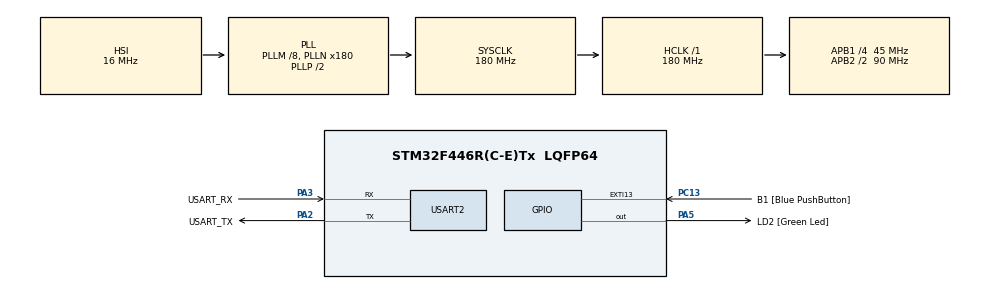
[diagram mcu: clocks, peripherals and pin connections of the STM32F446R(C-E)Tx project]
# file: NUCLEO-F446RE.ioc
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board=NUCLEO-F446RE2
Mcu.Family=STM32F4
Mcu.Name=STM32F446R(C-E)Tx
Mcu.Package=LQFP64
NVIC.PriorityGroup=NVIC_PRIORITYGROUP_0
PA13.GPIO_Label=TMS
PA13.Signal=SYS_JTMS-SWDIO
PA14.GPIO_Label=TCK
PA14.Signal=SYS_JTCK-SWCLK
PA2.GPIO_Label=USART_TX
PA2.Mode=Asynchronous
PA2.Signal=USART2_TX
PA3.GPIO_Label=USART_RX
PA3.GPIO_PuPd=GPIO_PULLUP
PA3.Mode=Asynchronous
PA3.Signal=USART2_RX
PA5.GPIO_Label=LD2 [Green Led]
PA5.Signal=GPIO_Output
PB3.GPIO_Label=SWO
PB3.Signal=SYS_JTDO-SWO
PC13.GPIO_Label=B1 [Blue PushButton]
PC13.GPIO_ModeDefaultEXTI=GPIO_MODE_IT_FALLING
PC13.Signal=GPXTI13
PC14-OSC32_IN.Signal=RCC_OSC32_IN
PC15-OSC32_OUT.Signal=RCC_OSC32_OUT
PH0-OSC_IN.Signal=RCC_OSC_IN
PH1-OSC_OUT.Signal=RCC_OSC_OUT
ProjectManager.HeapSize=0x800
ProjectManager.StackSize=0x800
ProjectManager.TargetToolchain=STM32CubeIDE
RCC.AHBFreq_Value=180000000
RCC.APB1CLKDivider=RCC_HCLK_DIV4
RCC.APB1Freq_Value=45000000
RCC.APB1TimFreq_Value=90000000
RCC.APB2CLKDivider=RCC_HCLK_DIV2
RCC.APB2Freq_Value=90000000
RCC.APB2TimFreq_Value=180000000
RCC.CortexFreq_Value=180000000
RCC.FLatency-AdvancedSettings=FLASH_LATENCY_5
RCC.HCLKFreq_Value=180000000
RCC.HSE_VALUE=8000000
RCC.HSI_VALUE=16000000
RCC.LSE_VALUE=32768
RCC.PLLM=8
RCC.PLLN=180
RCC.PLLP=2
RCC.SYSCLKFreq_VALUE=180000000
RCC.SYSCLKSource=RCC_SYSCLKSOURCE_PLLCLK
RCC.USBFreq_Value=180000000
RCC.VCOOutputFreq_Value=360000000
STMicroelectronics.X-CUBE-AI.10.2.0.ActivationBuffers=pool0
STMicroelectronics.X-CUBE-AI.10.2.0.ActivationBufferSizeList=32768
STMicroelectronics.X-CUBE-AI.10.2.0.ActivationNames=pool0
STMicroelectronics.X-CUBE-AI.10.2.0.ActivationSizes=AI_NETWORK_DATA_ACTIVATION_1_SIZE
STMicroelectronics.X-CUBE-AI.10.2.0.ApplicationCcDeviceJjApplication=SystemPerformance
STMicroelectronics.X-CUBE-AI.10.2.0.BSP.number=1
STMicroelectronics.X-CUBE-AI.10.2.0.copyWeightToRam=false
STMicroelectronics.X-CUBE-AI.10.2.0.copyWeightToRam-577c19cbff724ff41d6fec80959e7f2a81526a23ebee906de0429f67022a890d=false
STMicroelectronics.X-CUBE-AI.10.2.0.customLayerConfigEnabled=false
STMicroelectronics.X-CUBE-AI.10.2.0.customLayerConfigEnabled-577c19cbff724ff41d6fec80959e7f2a81526a23ebee906de0429f67022a890d=false
STMicroelectronics.X-CUBE-AI.10.2.0.ExternalRamActivationBufferMaxSize=32768
STMicroelectronics.X-CUBE-AI.10.2.0.HeapSize=0x800
STMicroelectronics.X-CUBE-AI.10.2.0.InternalRamActivationBufferMaxSize=AI_NETWORK_DATA_ACTIVATIONS_SIZE
STMicroelectronics.X-CUBE-AI.10.2.0.MaximumNumberOfInputLayer=1
STMicroelectronics.X-CUBE-AI.10.2.0.maximumNumberOfInputLayer=1
STMicroelectronics.X-CUBE-AI.10.2.0.MaximumNumberOfOutputLayer=1
STMicroelectronics.X-CUBE-AI.10.2.0.maximumNumberOfOutputLayer=1
STMicroelectronics.X-CUBE-AI.10.2.0.MaximumSizeOfInputLayer=1
STMicroelectronics.X-CUBE-AI.10.2.0.MaximumSizeOfOutputLayer=1
STMicroelectronics.X-CUBE-AI.10.2.0.memoryPool0driver-577c19cbff724ff41d6fec80959e7f2a81526a23ebee906de0429f67022a890d=RAM
STMicroelectronics.X-CUBE-AI.10.2.0.memoryPool0id-577c19cbff724ff41d6fec80959e7f2a81526a23ebee906de0429f67022a890d=0
STMicroelectronics.X-CUBE-AI.10.2.0.memoryPool0max-577c19cbff724ff41d6fec80959e7f2a81526a23ebee906de0429f67022a890d=128
STMicroelectronics.X-CUBE-AI.10.2.0.memoryPool0name-577c19cbff724ff41d6fec80959e7f2a81526a23ebee906de0429f67022a890d=POOL_0_RAM
STMicroelectronics.X-CUBE-AI.10.2.0.memoryPool0size-577c19cbff724ff41d6fec80959e7f2a81526a23ebee906de0429f67022a890d=109
STMicroelectronics.X-CUBE-AI.10.2.0.memoryPool0start-577c19cbff724ff41d6fec80959e7f2a81526a23ebee906de0429f67022a890d=0x20000000
STMicroelectronics.X-CUBE-AI.10.2.0.memoryPool0used-577c19cbff724ff41d6fec80959e7f2a81526a23ebee906de0429f67022a890d=0
STMicroelectronics.X-CUBE-AI.10.2.0.ModelActualCompression-577c19cbff724ff41d6fec80959e7f2a81526a23ebee906de0429f67022a890d=0.0
STMicroelectronics.X-CUBE-AI.10.2.0.ModelCompression-577c19cbff724ff41d6fec80959e7f2a81526a23ebee906de0429f67022a890d=Lossless
STMicroelectronics.X-CUBE-AI.10.2.0.ModelFlashOccupation-577c19cbff724ff41d6fec80959e7f2a81526a23ebee906de0429f67022a890d=26264
STMicroelectronics.X-CUBE-AI.10.2.0.ModelHashList=577c19cbff724ff41d6fec80959e7f2a81526a23ebee906de0429f67022a890d
STMicroelectronics.X-CUBE-AI.10.2.0.ModelKind-577c19cbff724ff41d6fec80959e7f2a81526a23ebee906de0429f67022a890d=TFLITE
STMicroelectronics.X-CUBE-AI.10.2.0.ModelMacc-577c19cbff724ff41d6fec80959e7f2a81526a23ebee906de0429f67022a890d=4013
STMicroelectronics.X-CUBE-AI.10.2.0.ModelName-577c19cbff724ff41d6fec80959e7f2a81526a23ebee906de0429f67022a890d=network
STMicroelectronics.X-CUBE-AI.10.2.0.ModelNameList=network
STMicroelectronics.X-CUBE-AI.10.2.0.ModelRamOccupation-577c19cbff724ff41d6fec80959e7f2a81526a23ebee906de0429f67022a890d=2516
STMicroelectronics.X-CUBE-AI.10.2.0.ModelStructureFile-577c19cbff724ff41d6fec80959e7f2a81526a23ebee906de0429f67022a890d=mnist_squeezenet.tflite
STMicroelectronics.X-CUBE-AI.10.2.0.ModelType-577c19cbff724ff41d6fec80959e7f2a81526a23ebee906de0429f67022a890d=STM32Cube.AI runtime
STMicroelectronics.X-CUBE-AI.10.2.0.noOnnxIoTranspose=false
STMicroelectronics.X-CUBE-AI.10.2.0.optimization-577c19cbff724ff41d6fec80959e7f2a81526a23ebee906de0429f67022a890d=ram
STMicroelectronics.X-CUBE-AI.10.2.0.ProjectManager.HeapSize=0x800
STMicroelectronics.X-CUBE-AI.10.2.0.ProjectManager.StackSize=0x800
STMicroelectronics.X-CUBE-AI.10.2.0.StackSize=0x800
STMicroelectronics.X-CUBE-AI.10.2.0.useInputAllocation=true
STMicroelectronics.X-CUBE-AI.10.2.0.useInputAllocation-577c19cbff724ff41d6fec80959e7f2a81526a23ebee906de0429f67022a890d=false
STMicroelectronics.X-CUBE-AI.10.2.0.useOutputAllocation=true
STMicroelectronics.X-CUBE-AI.10.2.0.useOutputAllocation-577c19cbff724ff41d6fec80959e7f2a81526a23ebee906de0429f67022a890d=false
STMicroelectronics.X-CUBE-AI.10.2.0.WorkingBufferStartAddrList=0xFFFFFFFF
STMicroelectronics.X-CUBE-AI.10.2.0.XAaCUBEAaAICcArtificialOoIntelligenceJjCore=true
STMicroelectronics.X-CUBE-AI.10.2.00.BSP.api=Unknown
STMicroelectronics.X-CUBE-AI.10.2.00.BSP.condition=\!SEMDeviceJjApplicationJjApplicationTemplate
STMicroelectronics.X-CUBE-AI.10.2.00.BSP.instance=USART2
STMicroelectronics.X-CUBE-AI.10.2.00.BSP.ip=USART
STMicroelectronics.X-CUBE-AI.10.2.00.BSP.mode=Asynchronous
STMicroelectronics.X-CUBE-AI.10.2.00.BSP.name=COM Port
STMicroelectronics.X-CUBE-AI.10.2.00.BSP.solution=USART2
STMicroelectronics.X-CUBE-AI.10.2.00.BSP.STBoard=false
USART2.VirtualMode=VM_ASYNC
VP_STMicroelectronics.X-CUBE-AI_VS_ArtificialOoIntelligenceJjXAaCUBEAaAI_10.2.0.Mode=ArtificialOoIntelligenceJjXAaCUBEAaAI
VP_STMicroelectronics.X-CUBE-AI_VS_DeviceJjApplication_10.2.0.Mode=DeviceJjApplication

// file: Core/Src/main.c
/* USER CODE BEGIN Header */
/**
  ******************************************************************************
  * @file           : main.c
  * @brief          : Main program body for SqueezeNet (MNIST)
  ******************************************************************************
  */
/* USER CODE END Header */
#include "main.h"
#include "app_x-cube-ai.h"

/* USER CODE BEGIN Includes */
#include "network.h"
#include "network_data.h"
#include <stdio.h>
/* USER CODE END Includes */

UART_HandleTypeDef huart2;

/* USER CODE BEGIN PV */

// =============================================================
// 1. AI MODEL DEĞİŞKENLERİ
// =============================================================
ai_handle network = AI_HANDLE_NULL;

// SqueezeNet Aktivasyon Alanı (RAM)
ai_u8 activations[AI_NETWORK_DATA_ACTIVATIONS_SIZE];

// Çıktı Verileri (0-9 Arası Olasılıklar)
float ai_output_data[10];

// Giriş/Çıkış Pointerları
ai_buffer *ai_input;
ai_buffer *ai_output;

// Tahmin Sonuçları
int predicted_digit = -1;
float max_probability = 0.0f;

// =============================================================
// 2. TEST GÖRÜNTÜSÜ (SqueezeNet İçin 32x32x3 RGB)
// =============================================================
// DİKKAT: Boyut artık 32 * 32 * 3 = 3072 elemanlıdır.
const float test_image_7_sq[32 * 32 * 3] = {
		0.0000f, 0.0000f, 0.0000f, 0.0000f, 0.0000f, 0.0000f, 0.0000f, 0.0000f, 0.0000f, 0.0000f,
		0.0000f, 0.0000f, 0.0000f, 0.0000f, 0.0000f, 0.0000f, 0.0000f, 0.0000f, 0.0000f, 0.0000f,
		0.0000f, 0.0000f, 0.0000f, 0.0000f, 0.0000f, 0.0000f, 0.0000f, 0.0000f, 0.0000f, 0.0000f,
		0.0000f, 0.0000f, 0.0000f, 0.0000f, 0.0000f, 0.0000f, 0.0000f, 0.0000f, 0.0000f, 0.0000f,
		0.0000f, 0.0000f, 0.0000f, 0.0000f, 0.0000f, 0.0000f, 0.0000f, 0.0000f, 0.0000f, 0.0000f,
		0.0000f, 0.0000f, 0.0000f, 0.0000f, 0.0000f, 0.0000f, 0.0000f, 0.0000f, 0.0000f, 0.0000f,
		0.0000f, 0.0000f, 0.0000f, 0.0000f, 0.0000f, 0.0000f, 0.0000f, 0.0000f, 0.0000f, 0.0000f,
		0.0000f, 0.0000f, 0.0000f, 0.0000f, 0.0000f, 0.0000f, 0.0000f, 0.0000f, 0.0000f, 0.0000f,
		0.0000f, 0.0000f, 0.0000f, 0.0000f, 0.0000f, 0.0000f, 0.0000f, 0.0000f, 0.0000f, 0.0000f,
		0.0000f, 0.0000f, 0.0000f, 0.0000f, 0.0000f, 0.0000f, 0.0000f, 0.0000f, 0.0000f, 0.0000f,
		0.0000f, 0.0000f, 0.0000f, 0.0000f, 0.0000f, 0.0000f, 0.0000f, 0.0000f, 0.0000f, 0.0000f,
		0.0000f, 0.0000f, 0.0000f, 0.0000f, 0.0000f, 0.0000f, 0.0000f, 0.0000f, 0.0000f, 0.0000f,
		0.0000f, 0.0000f, 0.0000f, 0.0000f, 0.0000f, 0.0000f, 0.0000f, 0.0000f, 0.0000f, 0.0000f,
		0.0000f, 0.0000f, 0.0000f, 0.0000f, 0.0000f, 0.0000f, 0.0000f, 0.0000f, 0.0000f, 0.0000f,
		0.0000f, 0.0000f, 0.0000f, 0.0000f, 0.0000f, 0.0000f, 0.0000f, 0.0000f, 0.0000f, 0.0000f,
		0.0000f, 0.0000f, 0.0000f, 0.0000f, 0.0000f, 0.0000f, 0.0000f, 0.0000f, 0.0000f, 0.0000f,
		0.0000f, 0.0000f, 0.0000f, 0.0000f, 0.0000f, 0.0000f, 0.0000f, 0.0000f, 0.0000f, 0.0000f,
		0.0000f, 0.0000f, 0.0000f, 0.0000f, 0.0000f, 0.0000f, 0.0000f, 0.0000f, 0.0000f, 0.0000f,
		0.0000f, 0.0000f, 0.0000f, 0.0000f, 0.0000f, 0.0000f, 0.0000f, 0.0000f, 0.0000f, 0.0000f,
		0.0000f, 0.0000f, 0.0000f, 0.0000f, 0.0000f, 0.0000f, 0.0000f, 0.0000f, 0.0000f, 0.0000f,
		0.0000f, 0.0000f, 0.0000f, 0.0000f, 0.0000f, 0.0000f, 0.0000f, 0.0000f, 0.0000f, 0.0000f,
		0.0000f, 0.0000f, 0.0000f, 0.0000f, 0.0000f, 0.0000f, 0.0000f, 0.0000f, 0.0000f, 0.0000f,
		0.0000f, 0.0000f, 0.0000f, 0.0000f, 0.0000f, 0.0000f, 0.0000f, 0.0000f, 0.0000f, 0.0000f,
		0.0000f, 0.0000f, 0.0000f, 0.0000f, 0.0000f, 0.0000f, 0.0000f, 0.0000f, 0.0000f, 0.0000f,
		0.0000f, 0.0000f, 0.0000f, 0.0000f, 0.0000f, 0.0000f, 0.0000f, 0.0000f, 0.0000f, 0.0000f,
		0.0000f, 0.0000f, 0.0000f, 0.0000f, 0.0000f, 0.0000f, 0.0000f, 0.0000f, 0.0000f, 0.0000f,
		0.0000f, 0.0000f, 0.0000f, 0.0000f, 0.0000f, 0.0000f, 0.0000f, 0.0000f, 0.0000f, 0.0000f,
		0.0000f, 0.0000f, 0.0000f, 0.0000f, 0.0000f, 0.0000f, 0.0000f, 0.0000f, 0.0000f, 0.0000f,
		0.0000f, 0.0000f, 0.0000f, 0.0000f, 0.0000f, 0.0000f, 0.0000f, 0.0000f, 0.0000f, 0.0000f,
		0.0000f, 0.0000f, 0.0000f, 0.0000f, 0.0000f, 0.0000f, 0.0000f, 0.0000f, 0.0000f, 0.0000f,
		0.0000f, 0.0000f, 0.0000f, 0.0000f, 0.0000f, 0.0000f, 0.0000f, 0.0000f, 0.0000f, 0.0000f,
		0.0000f, 0.0000f, 0.0000f, 0.0000f, 0.0000f, 0.0000f, 0.0000f, 0.0000f, 0.0000f, 0.0000f,
		0.0000f, 0.0000f, 0.0000f, 0.0000f, 0.0000f, 0.0000f, 0.0000f, 0.0000f, 0.0000f, 0.0000f,
		0.0000f, 0.0000f, 0.0000f, 0.0000f, 0.0000f, 0.0000f, 0.0000f, 0.0000f, 0.0000f, 0.0000f,
		0.0000f, 0.0000f, 0.0000f, 0.0000f, 0.0000f, 0.0000f, 0.0000f, 0.0000f, 0.0000f, 0.0000f,
		0.0000f, 0.0000f, 0.0000f, 0.0000f, 0.0000f, 0.0000f, 0.0000f, 0.0000f, 0.0000f, 0.0000f,
		0.0000f, 0.0000f, 0.0000f, 0.0000f, 0.0000f, 0.0000f, 0.0000f, 0.0000f, 0.0000f, 0.0000f,
		0.0000f, 0.0000f, 0.0000f, 0.0000f, 0.0000f, 0.0000f, 0.0000f, 0.0000f, 0.0000f, 0.0000f,
		0.0000f, 0.0000f, 0.0000f, 0.0000f, 0.0000f, 0.0000f, 0.0000f, 0.0000f, 0.0000f, 0.0000f,
		0.0000f, 0.0000f, 0.0000f, 0.0000f, 0.0000f, 0.0000f, 0.0000f, 0.0000f, 0.0000f, 0.0000f,
		0.0000f, 0.0000f, 0.0000f, 0.0000f, 0.0000f, 0.0000f, 0.0000f, 0.0000f, 0.0000f, 0.0000f,
		0.0000f, 0.0000f, 0.0000f, 0.0000f, 0.0000f, 0.0000f, 0.0000f, 0.0000f, 0.0000f, 0.0000f,
		0.0000f, 0.0000f, 0.0000f, 0.0000f, 0.0000f, 0.0000f, 0.0000f, 0.0000f, 0.0000f, 0.0000f,
		0.0000f, 0.0000f, 0.0000f, 0.0000f, 0.0000f, 0.0000f, 0.0000f, 0.0000f, 0.0000f, 0.0000f,
		0.0000f, 0.0000f, 0.0000f, 0.0000f, 0.0000f, 0.0000f, 0.0000f, 0.0000f, 0.0000f, 0.0000f,
		0.0000f, 0.0000f, 0.0000f, 0.0000f, 0.0000f, 0.0000f, 0.0000f, 0.0000f, 0.0000f, 0.0000f,
		0.0000f, 0.0000f, 0.0000f, 0.0000f, 0.0000f, 0.0000f, 0.0000f, 0.0000f, 0.0000f, 0.0000f,
		0.0000f, 0.0000f, 0.0000f, 0.0000f, 0.0000f, 0.0000f, 0.0000f, 0.0000f, 0.0000f, 0.0000f,
		0.0000f, 0.0000f, 0.0000f, 0.0000f, 0.0000f, 0.0000f, 0.0000f, 0.0000f, 0.0000f, 0.0000f,
		0.0000f, 0.0000f, 0.0000f, 0.0000f, 0.0000f, 0.0000f, 0.0000f, 0.0000f, 0.0000f, 0.0000f,
		0.0000f, 0.0000f, 0.0000f, 0.0000f, 0.0000f, 0.0000f, 0.0000f, 0.0000f, 0.0000f, 0.0000f,
		0.0000f, 0.0000f, 0.0000f, 0.0000f, 0.0000f, 0.0000f, 0.0000f, 0.0000f, 0.0000f, 0.0000f,
		0.0000f, 0.0000f, 0.0000f, 0.0000f, 0.0000f, 0.0000f, 0.0000f, 0.0000f, 0.0000f, 0.0000f,
		0.0000f, 0.0000f, 0.0000f, 0.0000f, 0.0000f, 0.0000f, 0.0000f, 0.0000f, 0.0000f, 0.0000f,
		0.0000f, 0.0000f, 0.0000f, 0.0000f, 0.0000f, 0.0000f, 0.0000f, 0.0000f, 0.0000f, 0.0000f,
		0.0000f, 0.0000f, 0.0000f, 0.0000f, 0.0000f, 0.0000f, 0.0000f, 0.0000f, 0.0000f, 0.0000f,
		0.0000f, 0.0000f, 0.0000f, 0.0000f, 0.0000f, 0.0000f, 0.0000f, 0.0000f, 0.0000f, 0.0000f,
		0.0000f, 0.0000f, 0.0000f, 0.0000f, 0.0000f, 0.0000f, 0.0000f, 0.0000f, 0.0000f, 0.0000f,
		0.0000f, 0.0000f, 0.0000f, 0.0000f, 0.0000f, 0.0000f, 0.0000f, 0.0000f, 0.0000f, 0.0000f,
		0.0000f, 0.0000f, 0.0000f, 0.0000f, 0.0000f, 0.0000f, 0.0000f, 0.0000f, 0.0000f, 0.0000f,
		0.0000f, 0.0000f, 0.0000f, 0.0000f, 0.0000f, 0.0000f, 0.0000f, 0.0000f, 0.0000f, 0.0000f,
		0.0000f, 0.0000f, 0.0000f, 0.0000f, 0.0000f, 0.0000f, 0.0000f, 0.0000f, 0.0000f, 0.0000f,
		0.0000f, 0.0000f, 0.0000f, 0.0000f, 0.0000f, 0.0000f, 0.0000f, 0.0000f, 0.0000f, 0.0000f,
		0.0000f, 0.0000f, 0.0000f, 0.0000f, 0.0000f, 0.0000f, 0.0000f, 0.0000f, 0.0000f, 0.0000f,
		0.0000f, 0.0000f, 0.0000f, 0.0000f, 0.0000f, 0.0000f, 0.0000f, 0.0000f, 0.0000f, 0.0000f,
		0.0000f, 0.0000f, 0.0000f, 0.0000f, 0.0000f, 0.0000f, 0.0000f, 0.0000f, 0.0000f, 0.0000f,
		0.0000f, 0.0000f, 0.0000f, 0.0000f, 0.0000f, 0.0000f, 0.0000f, 0.0000f, 0.0000f, 0.0000f,
		0.0000f, 0.0000f, 0.0000f, 0.0000f, 0.0000f, 0.0000f, 0.0000f, 0.0000f, 0.0000f, 0.0000f,
		0.0000f, 0.0000f, 0.0000f, 0.0000f, 0.0000f, 0.0000f, 0.0000f, 0.0000f, 0.0000f, 0.0000f,
		0.0039f, 0.0039f, 0.0039f, 0.0221f, 0.0221f, 0.0221f, 0.0438f, 0.0438f, 0.0438f, 0.0402f,
		0.0402f, 0.0402f, 0.0376f, 0.0376f, 0.0376f, 0.0245f, 0.0245f, 0.0245f, 0.0121f, 0.0121f,
		0.0121f, 0.0061f, 0.0061f, 0.0061f, 0.0000f, 0.0000f, 0.0000f, 0.0000f, 0.0000f, 0.0000f,
		0.0000f, 0.0000f, 0.0000f, 0.0000f, 0.0000f, 0.0000f, 0.0000f, 0.0000f, 0.0000f, 0.0000f,
		0.0000f, 0.0000f, 0.0000f, 0.0000f, 0.0000f, 0.0000f, 0.0000f, 0.0000f, 0.0000f, 0.0000f,
		0.0000f, 0.0000f, 0.0000f, 0.0000f, 0.0000f, 0.0000f, 0.0000f, 0.0000f, 0.0000f, 0.0000f,
		0.0000f, 0.0000f, 0.0000f, 0.0000f, 0.0000f, 0.0000f, 0.0000f, 0.0000f, 0.0000f, 0.0000f,
		0.0000f, 0.0000f, 0.0000f, 0.0000f, 0.0000f, 0.0000f, 0.0000f, 0.0000f, 0.0000f, 0.0000f,
		0.0000f, 0.0000f, 0.0000f, 0.0000f, 0.0000f, 0.0000f, 0.0000f, 0.0000f, 0.0000f, 0.0000f,
		0.0000f, 0.0000f, 0.0000f, 0.0000f, 0.0000f, 0.0000f, 0.0579f, 0.0579f, 0.0579f, 0.3320f,
		0.3320f, 0.3320f, 0.6569f, 0.6569f, 0.6569f, 0.6025f, 0.6025f, 0.6025f, 0.5643f, 0.5643f,
		0.5643f, 0.3670f, 0.3670f, 0.3670f, 0.1820f, 0.1820f, 0.1820f, 0.0910f, 0.0910f, 0.0910f,
		0.0000f, 0.0000f, 0.0000f, 0.0000f, 0.0000f, 0.0000f, 0.0000f, 0.0000f, 0.0000f, 0.0000f,
		0.0000f, 0.0000f, 0.0000f, 0.0000f, 0.0000f, 0.0000f, 0.0000f, 0.0000f, 0.0000f, 0.0000f,
		0.0000f, 0.0000f, 0.0000f, 0.0000f, 0.0000f, 0.0000f, 0.0000f, 0.0000f, 0.0000f, 0.0000f,
		0.0000f, 0.0000f, 0.0000f, 0.0000f, 0.0000f, 0.0000f, 0.0000f, 0.0000f, 0.0000f, 0.0000f,
		0.0000f, 0.0000f, 0.0000f, 0.0000f, 0.0000f, 0.0000f, 0.0000f, 0.0000f, 0.0000f, 0.0000f,
		0.0000f, 0.0000f, 0.0000f, 0.0000f, 0.0000f, 0.0000f, 0.0000f, 0.0000f, 0.0000f, 0.0000f,
		0.0000f, 0.0000f, 0.0000f, 0.0000f, 0.0000f, 0.0000f, 0.0000f, 0.0000f, 0.0000f, 0.0000f,
		0.0000f, 0.0000f, 0.1442f, 0.1442f, 0.1442f, 0.7801f, 0.7801f, 0.7801f, 0.9343f, 0.9343f,
		0.9343f, 0.9298f, 0.9298f, 0.9298f, 0.9222f, 0.9222f, 0.9222f, 0.8827f, 0.8827f, 0.8827f,
		0.8276f, 0.8276f, 0.8276f, 0.7433f, 0.7433f, 0.7433f, 0.6309f, 0.6309f, 0.6309f, 0.6309f,
		0.6309f, 0.6309f, 0.6309f, 0.6309f, 0.6309f, 0.6309f, 0.6309f, 0.6309f, 0.6309f, 0.6309f,
		0.6309f, 0.6309f, 0.6309f, 0.6309f, 0.6309f, 0.6309f, 0.6309f, 0.6309f, 0.6309f, 0.6309f,
		0.6142f, 0.6142f, 0.6142f, 0.5182f, 0.5182f, 0.5182f, 0.1892f, 0.1892f, 0.1892f, 0.0311f,
		0.0311f, 0.0311f, 0.0000f, 0.0000f, 0.0000f, 0.0000f, 0.0000f, 0.0000f, 0.0000f, 0.0000f,
		0.0000f, 0.0000f, 0.0000f, 0.0000f, 0.0000f, 0.0000f, 0.0000f, 0.0000f, 0.0000f, 0.0000f,
		0.0000f, 0.0000f, 0.0000f, 0.0000f, 0.0000f, 0.0000f, 0.0000f, 0.0000f, 0.0000f, 0.0000f,
		0.0000f, 0.0000f, 0.0000f, 0.0000f, 0.0000f, 0.0000f, 0.0000f, 0.0000f, 0.0849f, 0.0849f,
		0.0849f, 0.4631f, 0.4631f, 0.4631f, 0.6083f, 0.6083f, 0.6083f, 0.5266f, 0.5266f, 0.5266f,
		0.5832f, 0.5832f, 0.5832f, 0.6929f, 0.6929f, 0.6929f, 0.8193f, 0.8193f, 0.8193f, 0.9136f,
		0.9136f, 0.9136f, 0.9128f, 0.9128f, 0.9128f, 0.8542f, 0.8542f, 0.8542f, 0.9226f, 0.9226f,
		0.9226f, 0.9275f, 0.9275f, 0.9275f, 0.9275f, 0.9275f, 0.9275f, 0.9214f, 0.9214f, 0.9214f,
		0.8919f, 0.8919f, 0.8919f, 0.8811f, 0.8811f, 0.8811f, 0.9210f, 0.9210f, 0.9210f, 0.8649f,
		0.8649f, 0.8649f, 0.4694f, 0.4694f, 0.4694f, 0.0827f, 0.0827f, 0.0827f, 0.0000f, 0.0000f,
		0.0000f, 0.0000f, 0.0000f, 0.0000f, 0.0000f, 0.0000f, 0.0000f, 0.0000f, 0.0000f, 0.0000f,
		0.0000f, 0.0000f, 0.0000f, 0.0000f, 0.0000f, 0.0000f, 0.0000f, 0.0000f, 0.0000f, 0.0000f,
		0.0000f, 0.0000f, 0.0000f, 0.0000f, 0.0000f, 0.0000f, 0.0000f, 0.0000f, 0.0000f, 0.0000f,
		0.0000f, 0.0000f, 0.0000f, 0.0000f, 0.0216f, 0.0216f, 0.0216f, 0.1200f, 0.1200f, 0.1200f,
		0.1905f, 0.1905f, 0.1905f, 0.1370f, 0.1370f, 0.1370f, 0.1731f, 0.1731f, 0.1731f, 0.2429f,
		0.2429f, 0.2429f, 0.3441f, 0.3441f, 0.3441f, 0.4752f, 0.4752f, 0.4752f, 0.5505f, 0.5505f,
		0.5505f, 0.4273f, 0.4273f, 0.4273f, 0.5732f, 0.5732f, 0.5732f, 0.5836f, 0.5836f, 0.5836f,
		0.5836f, 0.5836f, 0.5836f, 0.5698f, 0.5698f, 0.5698f, 0.5066f, 0.5066f, 0.5066f, 0.6008f,
		0.6008f, 0.6008f, 0.9638f, 0.9638f, 0.9638f, 0.9634f, 0.9634f, 0.9634f, 0.5066f, 0.5066f,
		0.5066f, 0.0889f, 0.0889f, 0.0889f, 0.0000f, 0.0000f, 0.0000f, 0.0000f, 0.0000f, 0.0000f,
		0.0000f, 0.0000f, 0.0000f, 0.0000f, 0.0000f, 0.0000f, 0.0000f, 0.0000f, 0.0000f, 0.0000f,
		0.0000f, 0.0000f, 0.0000f, 0.0000f, 0.0000f, 0.0000f, 0.0000f, 0.0000f, 0.0000f, 0.0000f,
		0.0000f, 0.0000f, 0.0000f, 0.0000f, 0.0000f, 0.0000f, 0.0000f, 0.0000f, 0.0000f, 0.0000f,
		0.0000f, 0.0000f, 0.0000f, 0.0000f, 0.0000f, 0.0000f, 0.0000f, 0.0000f, 0.0000f, 0.0000f,
		0.0000f, 0.0000f, 0.0000f, 0.0000f, 0.0000f, 0.0000f, 0.0000f, 0.0000f, 0.0164f, 0.0164f,
		0.0164f, 0.0713f, 0.0713f, 0.0713f, 0.1241f, 0.1241f, 0.1241f, 0.0382f, 0.0382f, 0.0382f,
		0.1405f, 0.1405f, 0.1405f, 0.1478f, 0.1478f, 0.1478f, 0.1478f, 0.1478f, 0.1478f, 0.1379f,
		0.1379f, 0.1379f, 0.1558f, 0.1558f, 0.1558f, 0.4281f, 0.4281f, 0.4281f, 0.9479f, 0.9479f,
		0.9479f, 0.8780f, 0.8780f, 0.8780f, 0.3056f, 0.3056f, 0.3056f, 0.0496f, 0.0496f, 0.0496f,
		0.0000f, 0.0000f, 0.0000f, 0.0000f, 0.0000f, 0.0000f, 0.0000f, 0.0000f, 0.0000f, 0.0000f,
		0.0000f, 0.0000f, 0.0000f, 0.0000f, 0.0000f, 0.0000f, 0.0000f, 0.0000f, 0.0000f, 0.0000f,
		0.0000f, 0.0000f, 0.0000f, 0.0000f, 0.0000f, 0.0000f, 0.0000f, 0.0000f, 0.0000f, 0.0000f,
		0.0000f, 0.0000f, 0.0000f, 0.0000f, 0.0000f, 0.0000f, 0.0000f, 0.0000f, 0.0000f, 0.0000f,
		0.0000f, 0.0000f, 0.0000f, 0.0000f, 0.0000f, 0.0000f, 0.0000f, 0.0000f, 0.0000f, 0.0000f,
		0.0000f, 0.0000f, 0.0000f, 0.0000f, 0.0000f, 0.0000f, 0.0000f, 0.0000f, 0.0000f, 0.0000f,
		0.0000f, 0.0000f, 0.0000f, 0.0000f, 0.0000f, 0.0000f, 0.0000f, 0.0000f, 0.0000f, 0.0000f,
		0.0000f, 0.0000f, 0.0000f, 0.0000f, 0.0000f, 0.0152f, 0.0152f, 0.0152f, 0.2380f, 0.2380f,
		0.2380f, 0.6610f, 0.6610f, 0.6610f, 0.9328f, 0.9328f, 0.9328f, 0.6267f, 0.6267f, 0.6267f,
		0.0871f, 0.0871f, 0.0871f, 0.0091f, 0.0091f, 0.0091f, 0.0000f, 0.0000f, 0.0000f, 0.0000f,
		0.0000f, 0.0000f, 0.0000f, 0.0000f, 0.0000f, 0.0000f, 0.0000f, 0.0000f, 0.0000f, 0.0000f,
		0.0000f, 0.0000f, 0.0000f, 0.0000f, 0.0000f, 0.0000f, 0.0000f, 0.0000f, 0.0000f, 0.0000f,
		0.0000f, 0.0000f, 0.0000f, 0.0000f, 0.0000f, 0.0000f, 0.0000f, 0.0000f, 0.0000f, 0.0000f,
		0.0000f, 0.0000f, 0.0000f, 0.0000f, 0.0000f, 0.0000f, 0.0000f, 0.0000f, 0.0000f, 0.0000f,
		0.0000f, 0.0000f, 0.0000f, 0.0000f, 0.0000f, 0.0000f, 0.0000f, 0.0000f, 0.0000f, 0.0000f,
		0.0000f, 0.0000f, 0.0000f, 0.0000f, 0.0000f, 0.0000f, 0.0000f, 0.0000f, 0.0000f, 0.0000f,
		0.0000f, 0.0000f, 0.0000f, 0.0000f, 0.0000f, 0.0000f, 0.0000f, 0.0000f, 0.0000f, 0.0000f,
		0.0000f, 0.0928f, 0.0928f, 0.0928f, 0.4993f, 0.4993f, 0.4993f, 0.9474f, 0.9474f, 0.9474f,
		0.8580f, 0.8580f, 0.8580f, 0.2783f, 0.2783f, 0.2783f, 0.0186f, 0.0186f, 0.0186f, 0.0000f,
		0.0000f, 0.0000f, 0.0000f, 0.0000f, 0.0000f, 0.0000f, 0.0000f, 0.0000f, 0.0000f, 0.0000f,
		0.0000f, 0.0000f, 0.0000f, 0.0000f, 0.0000f, 0.0000f, 0.0000f, 0.0000f, 0.0000f, 0.0000f,
		0.0000f, 0.0000f, 0.0000f, 0.0000f, 0.0000f, 0.0000f, 0.0000f, 0.0000f, 0.0000f, 0.0000f,
		0.0000f, 0.0000f, 0.0000f, 0.0000f, 0.0000f, 0.0000f, 0.0000f, 0.0000f, 0.0000f, 0.0000f,
		0.0000f, 0.0000f, 0.0000f, 0.0000f, 0.0000f, 0.0000f, 0.0000f, 0.0000f, 0.0000f, 0.0000f,
		0.0000f, 0.0000f, 0.0000f, 0.0000f, 0.0000f, 0.0000f, 0.0000f, 0.0000f, 0.0000f, 0.0000f,
		0.0000f, 0.0000f, 0.0000f, 0.0000f, 0.0000f, 0.0000f, 0.0000f, 0.0000f, 0.0000f, 0.0000f,
		0.0000f, 0.0000f, 0.0000f, 0.0000f, 0.0099f, 0.0099f, 0.0099f, 0.3074f, 0.3074f, 0.3074f,
		0.7369f, 0.7369f, 0.7369f, 0.9630f, 0.9630f, 0.9630f, 0.7536f, 0.7536f, 0.7536f, 0.1517f,
		0.1517f, 0.1517f, 0.0101f, 0.0101f, 0.0101f, 0.0000f, 0.0000f, 0.0000f, 0.0000f, 0.0000f,
		0.0000f, 0.0000f, 0.0000f, 0.0000f, 0.0000f, 0.0000f, 0.0000f, 0.0000f, 0.0000f, 0.0000f,
		0.0000f, 0.0000f, 0.0000f, 0.0000f, 0.0000f, 0.0000f, 0.0000f, 0.0000f, 0.0000f, 0.0000f,
		0.0000f, 0.0000f, 0.0000f, 0.0000f, 0.0000f, 0.0000f, 0.0000f, 0.0000f, 0.0000f, 0.0000f,
		0.0000f, 0.0000f, 0.0000f, 0.0000f, 0.0000f, 0.0000f, 0.0000f, 0.0000f, 0.0000f, 0.0000f,
		0.0000f, 0.0000f, 0.0000f, 0.0000f, 0.0000f, 0.0000f, 0.0000f, 0.0000f, 0.0000f, 0.0000f,
		0.0000f, 0.0000f, 0.0000f, 0.0000f, 0.0000f, 0.0000f, 0.0000f, 0.0000f, 0.0000f, 0.0000f,
		0.0000f, 0.0000f, 0.0000f, 0.0000f, 0.0000f, 0.0000f, 0.0000f, 0.0000f, 0.0000f, 0.0000f,
		0.1491f, 0.1491f, 0.1491f, 0.6276f, 0.6276f, 0.6276f, 0.9685f, 0.9685f, 0.9685f, 0.7743f,
		0.7743f, 0.7743f, 0.2346f, 0.2346f, 0.2346f, 0.0101f, 0.0101f, 0.0101f, 0.0007f, 0.0007f,
		0.0007f, 0.0000f, 0.0000f, 0.0000f, 0.0000f, 0.0000f, 0.0000f, 0.0000f, 0.0000f, 0.0000f,
		0.0000f, 0.0000f, 0.0000f, 0.0000f, 0.0000f, 0.0000f, 0.0000f, 0.0000f, 0.0000f, 0.0000f,
		0.0000f, 0.0000f, 0.0000f, 0.0000f, 0.0000f, 0.0000f, 0.0000f, 0.0000f, 0.0000f, 0.0000f,
		0.0000f, 0.0000f, 0.0000f, 0.0000f, 0.0000f, 0.0000f, 0.0000f, 0.0000f, 0.0000f, 0.0000f,
		0.0000f, 0.0000f, 0.0000f, 0.0000f, 0.0000f, 0.0000f, 0.0000f, 0.0000f, 0.0000f, 0.0000f,
		0.0000f, 0.0000f, 0.0000f, 0.0000f, 0.0000f, 0.0000f, 0.0000f, 0.0000f, 0.0000f, 0.0000f,
		0.0000f, 0.0000f, 0.0000f, 0.0000f, 0.0000f, 0.0000f, 0.0000f, 0.0000f, 0.0000f, 0.0000f,
		0.0000f, 0.0000f, 0.0000f, 0.0000f, 0.0000f, 0.0000f, 0.3212f, 0.3212f, 0.3212f, 0.7626f,
		0.7626f, 0.7626f, 0.9006f, 0.9006f, 0.9006f, 0.5573f, 0.5573f, 0.5573f, 0.0500f, 0.0500f,
		0.0500f, 0.0000f, 0.0000f, 0.0000f, 0.0000f, 0.0000f, 0.0000f, 0.0000f, 0.0000f, 0.0000f,
		0.0000f, 0.0000f, 0.0000f, 0.0000f, 0.0000f, 0.0000f, 0.0000f, 0.0000f, 0.0000f, 0.0000f,
		0.0000f, 0.0000f, 0.0000f, 0.0000f, 0.0000f, 0.0000f, 0.0000f, 0.0000f, 0.0000f, 0.0000f,
		0.0000f, 0.0000f, 0.0000f, 0.0000f, 0.0000f, 0.0000f, 0.0000f, 0.0000f, 0.0000f, 0.0000f,
		0.0000f, 0.0000f, 0.0000f, 0.0000f, 0.0000f, 0.0000f, 0.0000f, 0.0000f, 0.0000f, 0.0000f,
		0.0000f, 0.0000f, 0.0000f, 0.0000f, 0.0000f, 0.0000f, 0.0000f, 0.0000f, 0.0000f, 0.0000f,
		0.0000f, 0.0000f, 0.0000f, 0.0000f, 0.0000f, 0.0000f, 0.0000f, 0.0000f, 0.0000f, 0.0000f,
		0.0000f, 0.0000f, 0.0000f, 0.0000f, 0.0000f, 0.0000f, 0.0000f, 0.0000f, 0.0000f, 0.0197f,
		0.0197f, 0.0197f, 0.4996f, 0.4996f, 0.4996f, 0.8643f, 0.8643f, 0.8643f, 0.7199f, 0.7199f,
		0.7199f, 0.2670f, 0.2670f, 0.2670f, 0.0050f, 0.0050f, 0.0050f, 0.0000f, 0.0000f, 0.0000f,
		0.0000f, 0.0000f, 0.0000f, 0.0000f, 0.0000f, 0.0000f, 0.0000f, 0.0000f, 0.0000f, 0.0000f,
		0.0000f, 0.0000f, 0.0000f, 0.0000f, 0.0000f, 0.0000f, 0.0000f, 0.0000f, 0.0000f, 0.0000f,
		0.0000f, 0.0000f, 0.0000f, 0.0000f, 0.0000f, 0.0000f, 0.0000f, 0.0000f, 0.0000f, 0.0000f,
		0.0000f, 0.0000f, 0.0000f, 0.0000f, 0.0000f, 0.0000f, 0.0000f, 0.0000f, 0.0000f, 0.0000f,
		0.0000f, 0.0000f, 0.0000f, 0.0000f, 0.0000f, 0.0000f, 0.0000f, 0.0000f, 0.0000f, 0.0000f,
		0.0000f, 0.0000f, 0.0000f, 0.0000f, 0.0000f, 0.0000f, 0.0000f, 0.0000f, 0.0000f, 0.0000f,
		0.0000f, 0.0000f, 0.0000f, 0.0000f, 0.0000f, 0.0000f, 0.0000f, 0.0000f, 0.0000f, 0.0000f,
		0.0000f, 0.0000f, 0.0000f, 0.0000f, 0.0000f, 0.2384f, 0.2384f, 0.2384f, 0.7187f, 0.7187f,
		0.7187f, 0.8642f, 0.8642f, 0.8642f, 0.5087f, 0.5087f, 0.5087f, 0.0684f, 0.0684f, 0.0684f,
		0.0000f, 0.0000f, 0.0000f, 0.0000f, 0.0000f, 0.0000f, 0.0000f, 0.0000f, 0.0000f, 0.0000f,
		0.0000f, 0.0000f, 0.0000f, 0.0000f, 0.0000f, 0.0000f, 0.0000f, 0.0000f, 0.0000f, 0.0000f,
		0.0000f, 0.0000f, 0.0000f, 0.0000f, 0.0000f, 0.0000f, 0.0000f, 0.0000f, 0.0000f, 0.0000f,
		0.0000f, 0.0000f, 0.0000f, 0.0000f, 0.0000f, 0.0000f, 0.0000f, 0.0000f, 0.0000f, 0.0000f,
		0.0000f, 0.0000f, 0.0000f, 0.0000f, 0.0000f, 0.0000f, 0.0000f, 0.0000f, 0.0000f, 0.0000f,
		0.0000f, 0.0000f, 0.0000f, 0.0000f, 0.0000f, 0.0000f, 0.0000f, 0.0000f, 0.0000f, 0.0000f,
		0.0000f, 0.0000f, 0.0000f, 0.0000f, 0.0000f, 0.0000f, 0.0000f, 0.0000f, 0.0000f, 0.0000f,
		0.0000f, 0.0000f, 0.0000f, 0.0000f, 0.0000f, 0.0080f, 0.0080f, 0.0080f, 0.1206f, 0.1206f,
		0.1206f, 0.5998f, 0.5998f, 0.5998f, 0.8897f, 0.8897f, 0.8897f, 0.7061f, 0.7061f, 0.7061f,
		0.2808f, 0.2808f, 0.2808f, 0.0000f, 0.0000f, 0.0000f, 0.0000f, 0.0000f, 0.0000f, 0.0000f,
		0.0000f, 0.0000f, 0.0000f, 0.0000f, 0.0000f, 0.0000f, 0.0000f, 0.0000f, 0.0000f, 0.0000f,
		0.0000f, 0.0000f, 0.0000f, 0.0000f, 0.0000f, 0.0000f, 0.0000f, 0.0000f, 0.0000f, 0.0000f,
		0.0000f, 0.0000f, 0.0000f, 0.0000f, 0.0000f, 0.0000f, 0.0000f, 0.0000f, 0.0000f, 0.0000f,
		0.0000f, 0.0000f, 0.0000f, 0.0000f, 0.0000f, 0.0000f, 0.0000f, 0.0000f, 0.0000f, 0.0000f,
		0.0000f, 0.0000f, 0.0000f, 0.0000f, 0.0000f, 0.0000f, 0.0000f, 0.0000f, 0.0000f, 0.0000f,
		0.0000f, 0.0000f, 0.0000f, 0.0000f, 0.0000f, 0.0000f, 0.0000f, 0.0000f, 0.0000f, 0.0000f,
		0.0000f, 0.0000f, 0.0000f, 0.0000f, 0.0000f, 0.0000f, 0.0000f, 0.0000f, 0.0044f, 0.0044f,
		0.0044f, 0.0514f, 0.0514f, 0.0514f, 0.4449f, 0.4449f, 0.4449f, 0.8914f, 0.8914f, 0.8914f,
		0.8935f, 0.8935f, 0.8935f, 0.4585f, 0.4585f, 0.4585f, 0.0864f, 0.0864f, 0.0864f, 0.0000f,
		0.0000f, 0.0000f, 0.0000f, 0.0000f, 0.0000f, 0.0000f, 0.0000f, 0.0000f, 0.0000f, 0.0000f,
		0.0000f, 0.0000f, 0.0000f, 0.0000f, 0.0000f, 0.0000f, 0.0000f, 0.0000f, 0.0000f, 0.0000f,
		0.0000f, 0.0000f, 0.0000f, 0.0000f, 0.0000f, 0.0000f, 0.0000f, 0.0000f, 0.0000f, 0.0000f,
		0.0000f, 0.0000f, 0.0000f, 0.0000f, 0.0000f, 0.0000f, 0.0000f, 0.0000f, 0.0000f, 0.0000f,
		0.0000f, 0.0000f, 0.0000f, 0.0000f, 0.0000f, 0.0000f, 0.0000f, 0.0000f, 0.0000f, 0.0000f,
		0.0000f, 0.0000f, 0.0000f, 0.0000f, 0.0000f, 0.0000f, 0.0000f, 0.0000f, 0.0000f, 0.0000f,
		0.0000f, 0.0000f, 0.0000f, 0.0000f, 0.0000f, 0.0000f, 0.0000f, 0.0000f, 0.0000f, 0.0000f,
		0.0000f, 0.0007f, 0.0007f, 0.0007f, 0.0411f, 0.0411f, 0.0411f, 0.2524f, 0.2524f, 0.2524f,
		0.8484f, 0.8484f, 0.8484f, 0.9555f, 0.9555f, 0.9555f, 0.6846f, 0.6846f, 0.6846f, 0.2427f,
		0.2427f, 0.2427f, 0.0000f, 0.0000f, 0.0000f, 0.0000f, 0.0000f, 0.0000f, 0.0000f, 0.0000f,
		0.0000f, 0.0000f, 0.0000f, 0.0000f, 0.0000f, 0.0000f, 0.0000f, 0.0000f, 0.0000f, 0.0000f,
		0.0000f, 0.0000f, 0.0000f, 0.0000f, 0.0000f, 0.0000f, 0.0000f, 0.0000f, 0.0000f, 0.0000f,
		0.0000f, 0.0000f, 0.0000f, 0.0000f, 0.0000f, 0.0000f, 0.0000f, 0.0000f, 0.0000f, 0.0000f,
		0.0000f, 0.0000f, 0.0000f, 0.0000f, 0.0000f, 0.0000f, 0.0000f, 0.0000f, 0.0000f, 0.0000f,
		0.0000f, 0.0000f, 0.0000f, 0.0000f, 0.0000f, 0.0000f, 0.0000f, 0.0000f, 0.0000f, 0.0000f,
		0.0000f, 0.0000f, 0.0000f, 0.0000f, 0.0000f, 0.0000f, 0.0000f, 0.0000f, 0.0000f, 0.0000f,
		0.0000f, 0.0000f, 0.0000f, 0.0000f, 0.0000f, 0.0000f, 0.0000f, 0.0064f, 0.0064f, 0.0064f,
		0.1681f, 0.1681f, 0.1681f, 0.8203f, 0.8203f, 0.8203f, 0.9844f, 0.9844f, 0.9844f, 0.8563f,
		0.8563f, 0.8563f, 0.3460f, 0.3460f, 0.3460f, 0.0563f, 0.0563f, 0.0563f, 0.0000f, 0.0000f,
		0.0000f, 0.0000f, 0.0000f, 0.0000f, 0.0000f, 0.0000f, 0.0000f, 0.0000f, 0.0000f, 0.0000f,
		0.0000f, 0.0000f, 0.0000f, 0.0000f, 0.0000f, 0.0000f, 0.0000f, 0.0000f, 0.0000f, 0.0000f,
		0.0000f, 0.0000f, 0.0000f, 0.0000f, 0.0000f, 0.0000f, 0.0000f, 0.0000f, 0.0000f, 0.0000f,
		0.0000f, 0.0000f, 0.0000f, 0.0000f, 0.0000f, 0.0000f, 0.0000f, 0.0000f, 0.0000f, 0.0000f,
		0.0000f, 0.0000f, 0.0000f, 0.0000f, 0.0000f, 0.0000f, 0.0000f, 0.0000f, 0.0000f, 0.0000f,
		0.0000f, 0.0000f, 0.0000f, 0.0000f, 0.0000f, 0.0000f, 0.0000f, 0.0000f, 0.0000f, 0.0000f,
		0.0000f, 0.0000f, 0.0000f, 0.0000f, 0.0000f, 0.0000f, 0.0000f, 0.0000f, 0.0000f, 0.0000f,
		0.0000f, 0.0000f, 0.0000f, 0.0439f, 0.0439f, 0.0439f, 0.2985f, 0.2985f, 0.2985f, 0.9844f,
		0.9844f, 0.9844f, 0.9953f, 0.9953f, 0.9953f, 0.4604f, 0.4604f, 0.4604f, 0.1111f, 0.1111f,
		0.1111f, 0.0038f, 0.0038f, 0.0038f, 0.0000f, 0.0000f, 0.0000f, 0.0000f, 0.0000f, 0.0000f,
		0.0000f, 0.0000f, 0.0000f, 0.0000f, 0.0000f, 0.0000f, 0.0000f, 0.0000f, 0.0000f, 0.0000f,
		0.0000f, 0.0000f, 0.0000f, 0.0000f, 0.0000f, 0.0000f, 0.0000f, 0.0000f, 0.0000f, 0.0000f,
		0.0000f, 0.0000f, 0.0000f, 0.0000f, 0.0000f, 0.0000f, 0.0000f, 0.0000f, 0.0000f, 0.0000f,
		0.0000f, 0.0000f, 0.0000f, 0.0000f, 0.0000f, 0.0000f, 0.0000f, 0.0000f, 0.0000f, 0.0000f,
		0.0000f, 0.0000f, 0.0000f, 0.0000f, 0.0000f, 0.0000f, 0.0000f, 0.0000f, 0.0000f, 0.0000f,
		0.0000f, 0.0000f, 0.0000f, 0.0000f, 0.0000f, 0.0000f, 0.0000f, 0.0000f, 0.0000f, 0.0000f,
		0.0000f, 0.0000f, 0.0000f, 0.0000f, 0.0000f, 0.0000f, 0.0432f, 0.0432f, 0.0432f, 0.2997f,
		0.2997f, 0.2997f, 0.7894f, 0.7894f, 0.7894f, 0.9684f, 0.9684f, 0.9684f, 0.5809f, 0.5809f,
		0.5809f, 0.1523f, 0.1523f, 0.1523f, 0.0187f, 0.0187f, 0.0187f, 0.0000f, 0.0000f, 0.0000f,
		0.0000f, 0.0000f, 0.0000f, 0.0000f, 0.0000f, 0.0000f, 0.0000f, 0.0000f, 0.0000f, 0.0000f,
		0.0000f, 0.0000f, 0.0000f, 0.0000f, 0.0000f, 0.0000f, 0.0000f, 0.0000f, 0.0000f, 0.0000f,
		0.0000f, 0.0000f, 0.0000f, 0.0000f, 0.0000f, 0.0000f, 0.0000f, 0.0000f, 0.0000f, 0.0000f,
		0.0000f, 0.0000f, 0.0000f, 0.0000f, 0.0000f, 0.0000f, 0.0000f, 0.0000f, 0.0000f, 0.0000f,
		0.0000f, 0.0000f, 0.0000f, 0.0000f, 0.0000f, 0.0000f, 0.0000f, 0.0000f, 0.0000f, 0.0000f,
		0.0000f, 0.0000f, 0.0000f, 0.0000f, 0.0000f, 0.0000f, 0.0000f, 0.0000f, 0.0000f, 0.0000f,
		0.0000f, 0.0000f, 0.0000f, 0.0000f, 0.0000f, 0.0000f, 0.0000f, 0.0000f, 0.0000f, 0.0000f,
		0.0000f, 0.0000f, 0.1735f, 0.1735f, 0.1735f, 0.5724f, 0.5724f, 0.5724f, 0.9662f, 0.9662f,
		0.9662f, 0.9514f, 0.9514f, 0.9514f, 0.3258f, 0.3258f, 0.3258f, 0.0537f, 0.0537f, 0.0537f,
		0.0004f, 0.0004f, 0.0004f, 0.0000f, 0.0000f, 0.0000f, 0.0000f, 0.0000f, 0.0000f, 0.0000f,
		0.0000f, 0.0000f, 0.0000f, 0.0000f, 0.0000f, 0.0000f, 0.0000f, 0.0000f, 0.0000f, 0.0000f,
		0.0000f, 0.0000f, 0.0000f, 0.0000f, 0.0000f, 0.0000f, 0.0000f, 0.0000f, 0.0000f, 0.0000f,
		0.0000f, 0.0000f, 0.0000f, 0.0000f, 0.0000f, 0.0000f, 0.0000f, 0.0000f, 0.0000f, 0.0000f,
		0.0000f, 0.0000f, 0.0000f, 0.0000f, 0.0000f, 0.0000f, 0.0000f, 0.0000f, 0.0000f, 0.0000f,
		0.0000f, 0.0000f, 0.0000f, 0.0000f, 0.0000f, 0.0000f, 0.0000f, 0.0000f, 0.0000f, 0.0000f,
		0.0000f, 0.0000f, 0.0000f, 0.0000f, 0.0000f, 0.0000f, 0.0000f, 0.0000f, 0.0000f, 0.0000f,
		0.0000f, 0.0000f, 0.0000f, 0.0000f, 0.0000f, 0.0757f, 0.0757f, 0.0757f, 0.4091f, 0.4091f,
		0.4091f, 0.8352f, 0.8352f, 0.8352f, 0.9961f, 0.9961f, 0.9961f, 0.9466f, 0.9466f, 0.9466f,
		0.2534f, 0.2534f, 0.2534f, 0.0382f, 0.0382f, 0.0382f, 0.0000f, 0.0000f, 0.0000f, 0.0000f,
		0.0000f, 0.0000f, 0.0000f, 0.0000f, 0.0000f, 0.0000f, 0.0000f, 0.0000f, 0.0000f, 0.0000f,
		0.0000f, 0.0000f, 0.0000f, 0.0000f, 0.0000f, 0.0000f, 0.0000f, 0.0000f, 0.0000f, 0.0000f,
		0.0000f, 0.0000f, 0.0000f, 0.0000f, 0.0000f, 0.0000f, 0.0000f, 0.0000f, 0.0000f, 0.0000f,
		0.0000f, 0.0000f, 0.0000f, 0.0000f, 0.0000f, 0.0000f, 0.0000f, 0.0000f, 0.0000f, 0.0000f,
		0.0000f, 0.0000f, 0.0000f, 0.0000f, 0.0000f, 0.0000f, 0.0000f, 0.0000f, 0.0000f, 0.0000f,
		0.0000f, 0.0000f, 0.0000f, 0.0000f, 0.0000f, 0.0000f, 0.0000f, 0.0000f, 0.0000f, 0.0000f,
		0.0000f, 0.0000f, 0.0000f, 0.0000f, 0.0000f, 0.0000f, 0.0000f, 0.0000f, 0.0000f, 0.0000f,
		0.0000f, 0.1925f, 0.1925f, 0.1925f, 0.6167f, 0.6167f, 0.6167f, 0.9779f, 0.9779f, 0.9779f,
		0.9848f, 0.9848f, 0.9848f, 0.8890f, 0.8890f, 0.8890f, 0.2304f, 0.2304f, 0.2304f, 0.0344f,
		0.0344f, 0.0344f, 0.0000f, 0.0000f, 0.0000f, 0.0000f, 0.0000f, 0.0000f, 0.0000f, 0.0000f,
		0.0000f, 0.0000f, 0.0000f, 0.0000f, 0.0000f, 0.0000f, 0.0000f, 0.0000f, 0.0000f, 0.0000f,
		0.0000f, 0.0000f, 0.0000f, 0.0000f, 0.0000f, 0.0000f, 0.0000f, 0.0000f, 0.0000f, 0.0000f,
		0.0000f, 0.0000f, 0.0000f, 0.0000f, 0.0000f, 0.0000f, 0.0000f, 0.0000f, 0.0000f, 0.0000f,
		0.0000f, 0.0000f, 0.0000f, 0.0000f, 0.0000f, 0.0000f, 0.0000f, 0.0000f, 0.0000f, 0.0000f,
		0.0000f, 0.0000f, 0.0000f, 0.0000f, 0.0000f, 0.0000f, 0.0000f, 0.0000f, 0.0000f, 0.0000f,
		0.0000f, 0.0000f, 0.0000f, 0.0000f, 0.0000f, 0.0000f, 0.0000f, 0.0000f, 0.0000f, 0.0000f,
		0.0000f, 0.0000f, 0.0000f, 0.0000f, 0.0000f, 0.0000f, 0.0000f, 0.2669f, 0.2669f, 0.2669f,
		0.7027f, 0.7027f, 0.7027f, 0.9781f, 0.9781f, 0.9781f, 0.8774f, 0.8774f, 0.8774f, 0.5810f,
		0.5810f, 0.5810f, 0.1394f, 0.1394f, 0.1394f, 0.0202f, 0.0202f, 0.0202f, 0.0000f, 0.0000f,
		0.0000f, 0.0000f, 0.0000f, 0.0000f, 0.0000f, 0.0000f, 0.0000f, 0.0000f, 0.0000f, 0.0000f,
		0.0000f, 0.0000f, 0.0000f, 0.0000f, 0.0000f, 0.0000f, 0.0000f, 0.0000f, 0.0000f, 0.0000f,
		0.0000f, 0.0000f, 0.0000f, 0.0000f, 0.0000f, 0.0000f, 0.0000f, 0.0000f, 0.0000f, 0.0000f,
		0.0000f, 0.0000f, 0.0000f, 0.0000f, 0.0000f, 0.0000f, 0.0000f, 0.0000f, 0.0000f, 0.0000f,
		0.0000f, 0.0000f, 0.0000f, 0.0000f, 0.0000f, 0.0000f, 0.0000f, 0.0000f, 0.0000f, 0.0000f,
		0.0000f, 0.0000f, 0.0000f, 0.0000f, 0.0000f, 0.0000f, 0.0000f, 0.0000f, 0.0000f, 0.0000f,
		0.0000f, 0.0000f, 0.0000f, 0.0000f, 0.0000f, 0.0000f, 0.0000f, 0.0000f, 0.0000f, 0.0000f,
		0.0000f, 0.0000f, 0.0000f, 0.2169f, 0.2169f, 0.2169f, 0.5709f, 0.5709f, 0.5709f, 0.7625f,
		0.7625f, 0.7625f, 0.5466f, 0.5466f, 0.5466f, 0.0538f, 0.0538f, 0.0538f, 0.0036f, 0.0036f,
		0.0036f, 0.0000f, 0.0000f, 0.0000f, 0.0000f, 0.0000f, 0.0000f, 0.0000f, 0.0000f, 0.0000f,
		0.0000f, 0.0000f, 0.0000f, 0.0000f, 0.0000f, 0.0000f, 0.0000f, 0.0000f, 0.0000f, 0.0000f,
		0.0000f, 0.0000f, 0.0000f, 0.0000f, 0.0000f, 0.0000f, 0.0000f, 0.0000f, 0.0000f, 0.0000f,
		0.0000f, 0.0000f, 0.0000f, 0.0000f, 0.0000f, 0.0000f, 0.0000f, 0.0000f, 0.0000f, 0.0000f,
		0.0000f, 0.0000f, 0.0000f, 0.0000f, 0.0000f, 0.0000f, 0.0000f, 0.0000f, 0.0000f, 0.0000f,
		0.0000f, 0.0000f, 0.0000f, 0.0000f, 0.0000f, 0.0000f, 0.0000f, 0.0000f, 0.0000f, 0.0000f,
		0.0000f, 0.0000f, 0.0000f, 0.0000f, 0.0000f, 0.0000f, 0.0000f, 0.0000f, 0.0000f, 0.0000f,
		0.0000f, 0.0000f, 0.0000f, 0.0000f, 0.0000f, 0.0000f, 0.0000f, 0.0000f, 0.0000f, 0.0000f,
		0.0000f, 0.0000f, 0.0000f, 0.0000f, 0.0000f, 0.0000f, 0.0000f, 0.0000f, 0.0000f, 0.0000f,
		0.0000f, 0.0000f, 0.0000f, 0.0000f, 0.0000f, 0.0000f, 0.0000f, 0.0000f, 0.0000f, 0.0000f,
		0.0000f, 0.0000f, 0.0000f, 0.0000f, 0.0000f, 0.0000f, 0.0000f, 0.0000f, 0.0000f, 0.0000f,
		0.0000f, 0.0000f, 0.0000f, 0.0000f, 0.0000f, 0.0000f, 0.0000f, 0.0000f, 0.0000f, 0.0000f,
		0.0000f, 0.0000f, 0.0000f, 0.0000f, 0.0000f, 0.0000f, 0.0000f, 0.0000f, 0.0000f, 0.0000f,
		0.0000f, 0.0000f, 0.0000f, 0.0000f, 0.0000f, 0.0000f, 0.0000f, 0.0000f, 0.0000f, 0.0000f,
		0.0000f, 0.0000f,
};

/* USER CODE END PV */

void SystemClock_Config(void);
static void MX_GPIO_Init(void);
void MX_USART2_UART_Init(void); // DÜZELTME: 'static' kaldırıldı

int main(void)
{
  /* MCU Configuration--------------------------------------------------------*/
  HAL_Init();
  SystemClock_Config();
  MX_GPIO_Init();
  MX_USART2_UART_Init();

  // Otomatik init fonksiyonunu kapattık, manuel yapıyoruz.
  // MX_X_CUBE_AI_Init();

  /* USER CODE BEGIN 2 */

  // =============================================================
  // 3. YAPAY ZEKA MODELİNİ BAŞLATMA
  // =============================================================
  ai_error err;

  // Ağırlık verilerini al
  const ai_buffer weights_config = AI_NETWORK_DATA_WEIGHTS(ai_network_data_weights_get());

  // Ağı oluştur
  err = ai_network_create(&network, &weights_config);
  if (err.type != AI_ERROR_NONE) {
      while(1); // Hata: Oluşturulamadı
  }

  // Parametreleri ayarla
  const ai_network_params params = AI_NETWORK_PARAMS_INIT(
      AI_NETWORK_DATA_WEIGHTS(ai_network_data_weights_get()),
      AI_NETWORK_DATA_ACTIVATIONS(activations)
  );

  // Ağı init et
  if (!ai_network_init(network, &params)) {
      while(1); // Hata: Init başarısız
  }

  // Buffer adreslerini al
  ai_input = ai_network_inputs_get(network, NULL);
  ai_output = ai_network_outputs_get(network, NULL);

  /* USER CODE END 2 */

  /* Infinite loop */
  while (1)
  {

    /* USER CODE BEGIN 3 */

    // =============================================================
    // 4. ÇIKARIM (INFERENCE)
    // =============================================================

    // a) Giriş Verisini Bağla (Zero-Copy)
    // SqueezeNet 32x32 RGB veri bekliyor, dizimiz buna uygun.
    ai_input[0].data = AI_HANDLE_PTR(test_image_7_sq);

    // b) Çıkış Verisini Bağla
    ai_output[0].data = AI_HANDLE_PTR(ai_output_data);

    // c) Modeli Çalıştır
    ai_i32 batch = ai_network_run(network, ai_input, ai_output);

    if (batch != 1) {
        // Hata
    }

    // =============================================================
    // 5. SONUCU BULMA
    // =============================================================
    max_probability = 0.0f;
    predicted_digit = -1;

    for (int i = 0; i < 10; i++) {
        if (ai_output_data[i] > max_probability) {
            max_probability = ai_output_data[i];
            predicted_digit = i;
        }
    }

    // LED Yakıp Söndür
    HAL_GPIO_TogglePin(LD2_GPIO_Port, LD2_Pin);
    HAL_Delay(1000);
  }
  /* USER CODE END 3 */
}

void SystemClock_Config(void)
{
  RCC_OscInitTypeDef RCC_OscInitStruct = {0};
  RCC_ClkInitTypeDef RCC_ClkInitStruct = {0};

  __HAL_RCC_PWR_CLK_ENABLE();
  __HAL_PWR_VOLTAGESCALING_CONFIG(PWR_REGULATOR_VOLTAGE_SCALE1);

  RCC_OscInitStruct.OscillatorType = RCC_OSCILLATORTYPE_HSI;
  RCC_OscInitStruct.HSIState = RCC_HSI_ON;
  RCC_OscInitStruct.HSICalibrationValue = RCC_HSICALIBRATION_DEFAULT;
  RCC_OscInitStruct.PLL.PLLState = RCC_PLL_ON;
  RCC_OscInitStruct.PLL.PLLSource = RCC_PLLSOURCE_HSI;
  RCC_OscInitStruct.PLL.PLLM = 8;
  RCC_OscInitStruct.PLL.PLLN = 180;
  RCC_OscInitStruct.PLL.PLLP = 2;
  RCC_OscInitStruct.PLL.PLLQ = 2;
  RCC_OscInitStruct.PLL.PLLR = 2;
  if (HAL_RCC_OscConfig(&RCC_OscInitStruct) != HAL_OK)
  {
    Error_Handler();
  }

  if (HAL_PWREx_EnableOverDrive() != HAL_OK)
  {
    Error_Handler();
  }

  RCC_ClkInitStruct.ClockType = RCC_CLOCKTYPE_HCLK|RCC_CLOCKTYPE_SYSCLK
                              |RCC_CLOCKTYPE_PCLK1|RCC_CLOCKTYPE_PCLK2;
  RCC_ClkInitStruct.SYSCLKSource = RCC_SYSCLKSOURCE_PLLCLK;
  RCC_ClkInitStruct.AHBCLKDivider = RCC_SYSCLK_DIV1;
  RCC_ClkInitStruct.APB1CLKDivider = RCC_HCLK_DIV4;
  RCC_ClkInitStruct.APB2CLKDivider = RCC_HCLK_DIV2;

  if (HAL_RCC_ClockConfig(&RCC_ClkInitStruct, FLASH_LATENCY_5) != HAL_OK)
  {
    Error_Handler();
  }
}

// DÜZELTME: static kaldırıldı
void MX_USART2_UART_Init(void)
{
  huart2.Instance = USART2;
  huart2.Init.BaudRate = 115200;
  huart2.Init.WordLength = UART_WORDLENGTH_8B;
  huart2.Init.StopBits = UART_STOPBITS_1;
  huart2.Init.Parity = UART_PARITY_NONE;
  huart2.Init.Mode = UART_MODE_TX_RX;
  huart2.Init.HwFlowCtl = UART_HWCONTROL_NONE;
  huart2.Init.OverSampling = UART_OVERSAMPLING_16;
  if (HAL_UART_Init(&huart2) != HAL_OK)
  {
    Error_Handler();
  }
}

static void MX_GPIO_Init(void)
{
  GPIO_InitTypeDef GPIO_InitStruct = {0};

  __HAL_RCC_GPIOC_CLK_ENABLE();
  __HAL_RCC_GPIOH_CLK_ENABLE();
  __HAL_RCC_GPIOA_CLK_ENABLE();
  __HAL_RCC_GPIOB_CLK_ENABLE();

  HAL_GPIO_WritePin(LD2_GPIO_Port, LD2_Pin, GPIO_PIN_RESET);

  GPIO_InitStruct.Pin = B1_Pin;
  GPIO_InitStruct.Mode = GPIO_MODE_IT_FALLING;
  GPIO_InitStruct.Pull = GPIO_NOPULL;
  HAL_GPIO_Init(B1_GPIO_Port, &GPIO_InitStruct);

  GPIO_InitStruct.Pin = LD2_Pin;
  GPIO_InitStruct.Mode = GPIO_MODE_OUTPUT_PP;
  GPIO_InitStruct.Pull = GPIO_NOPULL;
  GPIO_InitStruct.Speed = GPIO_SPEED_FREQ_LOW;
  HAL_GPIO_Init(LD2_GPIO_Port, &GPIO_InitStruct);
}

void Error_Handler(void)
{
  __disable_irq();
  while (1)
  {
  }
}
